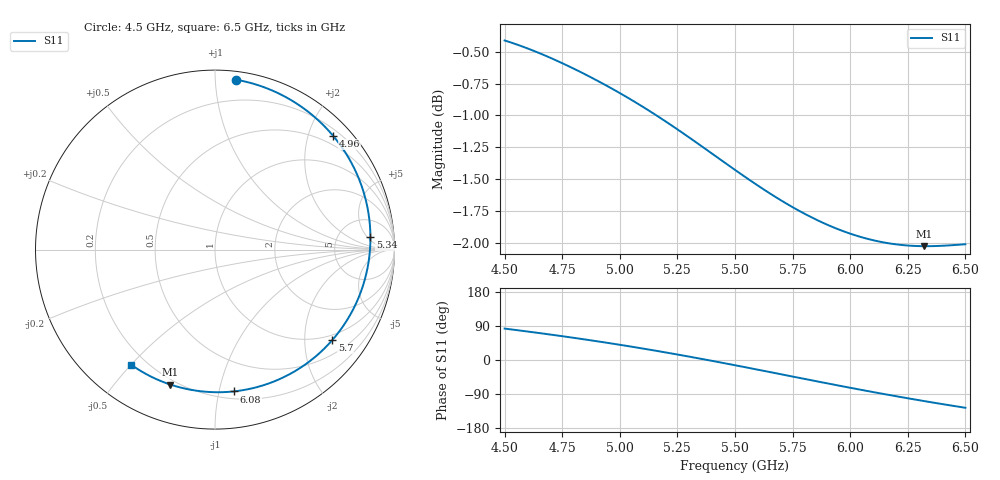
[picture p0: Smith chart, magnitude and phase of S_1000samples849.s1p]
! TOUCHSTONE file generated by CST MICROWAVE STUDIO
! Date and time: Sat Oct 29 14:28:47 2022
! Project name: L.cst
! Parameters = {Di=1.27; Epsilon_r=1.56; InnerDiameter=1.27; Length=2; Lf=10; Lg=60; OuterConductorThickness=0.2921; OuterDiameter=3.6; Wf=3; Wp=41.2; de=1.5; df=6.8; g=0.8; gx=2.26198; gy=1.85131; h=2.34; hf=1.524; px=8.10986; py=8.23433; w=9.7; wx=5.84787; wy=6.38302}
! Header version: 2018
! Port assignment regex: !\s*Touchstone port\s*([0-9]+)\s*=\s*(CST MWS port|CST DS port)\s*([0-9]+|Zmin|Zmax)\s*\(\"(.*)\"\)(\s*mode\s*([0-9]+))?.*
! Touchstone port assignment:
! Touchstone port 1 = CST MWS port 1 ("")
# GHz S DB R 50
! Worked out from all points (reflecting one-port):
!   101 points, 4.5 GHz to 6.5 GHz, reference 50 ohm
!   lowest |S11| = -2.0 dB at 6.32 GHz (marker M1), VSWR 8.61, Z = 8.78 - j35.4 ohm
!   phase of S11 starts at 83 deg and turns -209 deg over the sweep
!   S11 on the Smith chart (normalised r, x): 4.5 GHz: 0.05, +1.13; 4.96 GHz: 0.32, +2.44; 5.34 GHz: 11, +6; 5.7 GHz: 0.85, -2.69; 6.08 GHz: 0.26, -1.11; 6.5 GHz: 0.14, -0.50
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4.5  -0.41 82.9
4.58  -0.46 76.7
4.64  -0.50 71.9
4.76  -0.60 62.0
4.86  -0.69 53.2
4.96  -0.78 44.0
5  -0.82 40.1
5.08  -0.91 32.2
5.14  -0.98 26.1
5.2  -1.05 19.8
5.26  -1.12 13.4
5.34  -1.22 4.5
5.42  -1.32 -4.5
5.5  -1.43 -13.8
5.54  -1.48 -18.5
5.6  -1.55 -25.7
5.7  -1.67 -37.7
5.76  -1.73 -44.9
5.82  -1.79 -52.1
5.88  -1.84 -59.2
5.94  -1.89 -66.3
6  -1.93 -73.3
6.08  -1.97 -82.4
6.16  -2.00 -91.3
6.26  -2.02 -102.0
6.32  -2.03 -108.3
6.4  -2.02 -116.4
6.5  -2.01 -126.1
